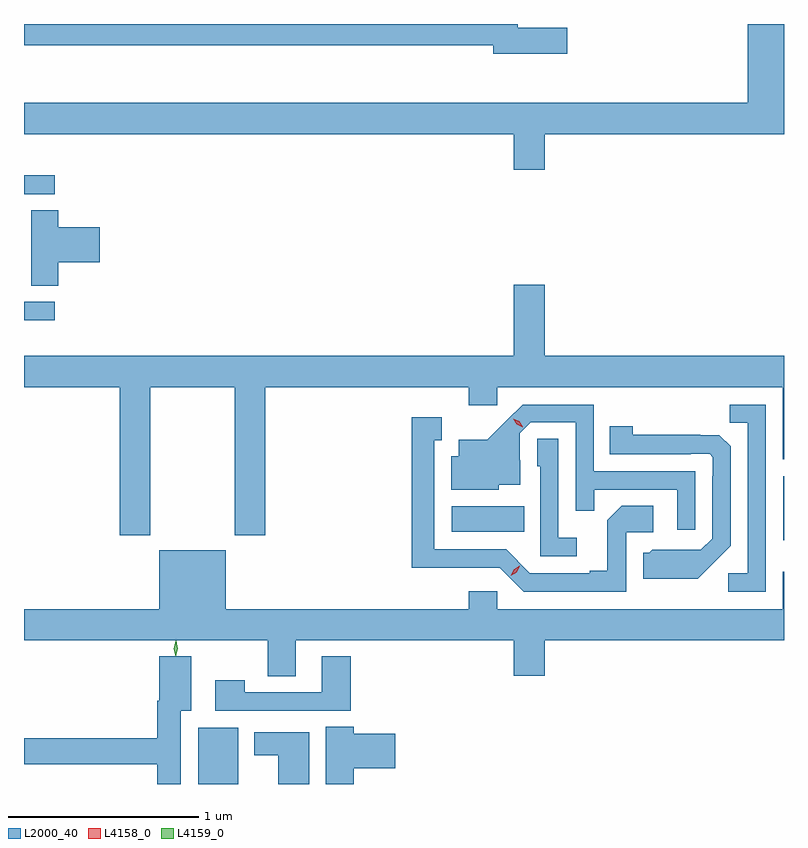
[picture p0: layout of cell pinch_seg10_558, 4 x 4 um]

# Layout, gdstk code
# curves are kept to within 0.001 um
import gdstk
lib = gdstk.Library(unit=1e-6, precision=1e-09)
def R(c, l, rs):  # rectangles x0, y0, x1, y1
    for r in rs: c.add(gdstk.rectangle(r[:2], r[2:], *l))
def P(c, l, *ps):  # polygons
    for p in ps: c.add(gdstk.Polygon(p, *l))
L2000_40 = (2000, 40)
L4158_0 = (4158, 0)
L4159_0 = (4159, 0)

pinch_seg10_558 = lib.new_cell('pinch_seg10_558')
R(pinch_seg10_558, L2000_40, [(379.13,1266.259,379.342,1266.556), (382.211,1267.542,382.214,1267.879), (380.466,1267.586,380.846,1267.72), (378.214,1268.7,378.376,1268.796), (378.214,1269.363,378.376,1269.462)])
P(pinch_seg10_558, L2000_40, [(380.956,1269.68),(382.214,1269.68),(382.214,1270.259),(382.022,1270.259),(382.022,1269.844),(378.214,1269.844),(378.214,1269.68),(380.792,1269.68),(380.792,1269.492),(380.956,1269.492)],
  [(381.073,1270.238),(380.812,1270.238),(380.812,1270.259),(378.214,1270.259),(378.214,1270.146),(380.684,1270.146),(380.684,1270.103),(381.073,1270.103)],
  [(378.395,1269.005),(378.613,1269.005),(378.613,1269.188),(378.395,1269.188),(378.395,1269.278),(378.251,1269.278),(378.251,1268.881),(378.395,1268.881)],
  [(378.879,1268.348),(379.324,1268.348),(379.324,1267.569),(379.484,1267.569),(379.484,1268.348),(380.555,1268.348),(380.555,1268.253),(380.706,1268.253),(380.706,1268.348),(382.208,1268.348),(382.208,1267.968),(382.214,1267.968),(382.214,1268.512),(380.956,1268.512),(380.956,1268.887),(380.792,1268.887),(380.792,1268.512),(378.214,1268.512),(378.214,1268.348),(378.719,1268.348),(378.719,1267.569),(378.879,1267.569)],
  [(381.747,1267.905),(381.213,1267.905),(381.213,1268.256),(380.84,1268.256),(380.653,1268.071),(380.501,1268.071),(380.501,1267.984),(380.462,1267.984),(380.462,1267.808),(380.712,1267.808),(380.712,1267.835),(380.827,1267.835),(380.827,1267.964),(380.823,1267.964),(380.823,1268.106),(380.88,1268.163),(381.117,1268.163),(381.117,1267.696),(381.215,1267.696),(381.215,1267.809),(381.651,1267.809),(381.651,1267.596),(381.747,1267.596)],
  [(382.119,1268.256),(381.928,1268.256),(381.928,1268.161),(382.023,1268.161),(382.023,1267.368),(381.921,1267.368),(381.921,1267.272),(382.119,1267.272)],
  [(381.384,1267.584),(381.526,1267.584),(381.526,1267.724),(381.361,1267.724),(381.285,1267.648),(381.285,1267.381),(381.191,1267.381),(381.191,1267.368),(380.877,1267.368),(380.751,1267.494),(380.374,1267.494),(380.374,1268.067),(380.413,1268.067),(380.413,1268.188),(380.256,1268.188),(380.256,1267.397),(380.718,1267.398),(380.844,1267.272),(381.384,1267.272)],
  [(381.841,1267.421),(381.933,1267.514),(381.933,1268.036),(381.874,1268.095),(381.417,1268.096),(381.417,1268.143),(381.298,1268.143),(381.298,1267.995),(381.722,1267.995),(381.722,1267.998),(381.822,1267.998),(381.84,1267.98),(381.84,1267.88),(381.837,1267.88),(381.837,1267.551),(381.777,1267.491),(381.52,1267.492),(381.504,1267.476),(381.473,1267.476),(381.473,1267.34),(381.761,1267.34)],
  [(381.124,1267.555),(381.027,1267.555),(381.027,1268.075),(380.916,1268.075),(380.916,1267.932),(380.931,1267.932),(380.931,1267.458),(381.124,1267.458)],
  [(379.645,1267.016),(380.792,1267.016),(380.792,1266.828),(380.956,1266.828),(380.956,1267.016),(382.214,1267.016),(382.214,1267.375),(382.208,1267.375),(382.208,1267.18),(380.706,1267.18),(380.706,1267.273),(380.555,1267.273),(380.555,1267.18),(379.276,1267.18),(379.276,1267.489),(378.926,1267.489),(378.926,1267.18),(378.214,1267.18),(378.214,1267.016),(379.498,1267.016),(379.498,1266.826),(379.645,1266.826)],
  [(379.934,1266.931),(379.781,1266.931),(379.781,1266.741),(379.377,1266.741),(379.377,1266.805),(379.221,1266.805),(379.221,1266.645),(379.934,1266.645)],
  [(379.039,1266.644),(379.093,1266.644),(379.093,1266.931),(378.926,1266.931),(378.926,1266.698),(378.914,1266.698),(378.914,1266.5),(378.214,1266.5),(378.214,1266.364),(378.914,1266.364),(378.914,1266.259),(379.039,1266.259)],
  [(379.949,1266.341),(380.167,1266.341),(380.167,1266.524),(379.949,1266.524),(379.949,1266.56),(379.802,1266.56),(379.802,1266.259),(379.949,1266.259)],
  [(379.714,1266.532),(379.427,1266.532),(379.427,1266.41),(379.553,1266.41),(379.553,1266.259),(379.714,1266.259)])
P(pinch_seg10_558, L4158_0, [(380.838,1268.137),(380.807,1268.152),(380.789,1268.181),(380.789,1268.182),(380.79,1268.182),(380.82,1268.167),(380.838,1268.138),(380.838,1268.137)],
  [(380.776,1267.355),(380.776,1267.355),(380.793,1267.388),(380.824,1267.408),(380.824,1267.408),(380.824,1267.407),(380.807,1267.374),(380.776,1267.355)])
P(pinch_seg10_558, L4159_0, [(379.012,1266.931),(379.012,1266.931),(379.003,1266.971),(379.013,1267.012),(379.013,1267.012),(379.014,1267.012),(379.023,1266.971),(379.012,1266.931)])

lib.write_gds('pinch_seg10_558.gds')
